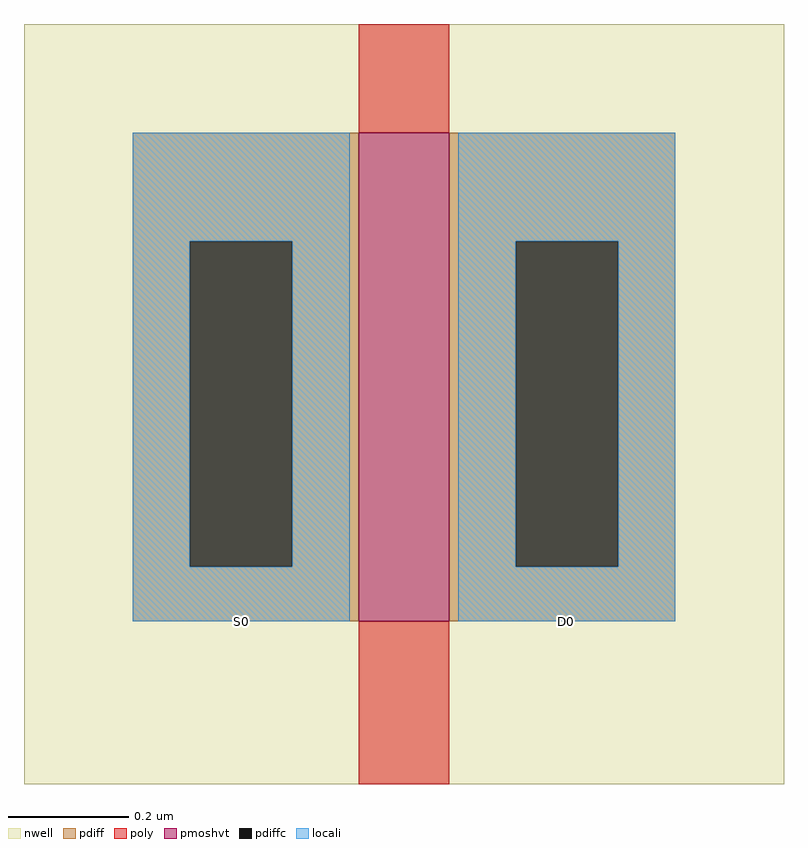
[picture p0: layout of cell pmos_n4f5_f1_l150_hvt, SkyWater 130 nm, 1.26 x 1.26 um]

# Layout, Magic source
magic
tech sky130A
magscale 1 2
<< nwell >>
rect -72 -36 180 216
<< pmoshvt >>
rect 39 18 69 180
<< pdiff >>
rect -36 144 39 180
rect -36 36 -17 144
rect 17 36 39 144
rect -36 18 39 36
rect 69 144 144 180
rect 69 36 91 144
rect 125 36 144 144
rect 69 18 144 36
<< pdiffc >>
rect -17 36 17 144
rect 91 36 125 144
<< poly >>
rect 39 180 69 216
rect 39 -36 69 18
<< locali >>
rect -36 144 36 180
rect -36 36 -17 144
rect 17 36 36 144
rect -36 18 36 36
rect 72 144 144 180
rect 72 36 91 144
rect 125 36 144 144
rect 72 18 144 36
<< labels >>
rlabel locali 0 18 0 18 0 S0
port 1 nsew
rlabel locali 108 18 108 18 0 D0
port 2 nsew
<< end >>
